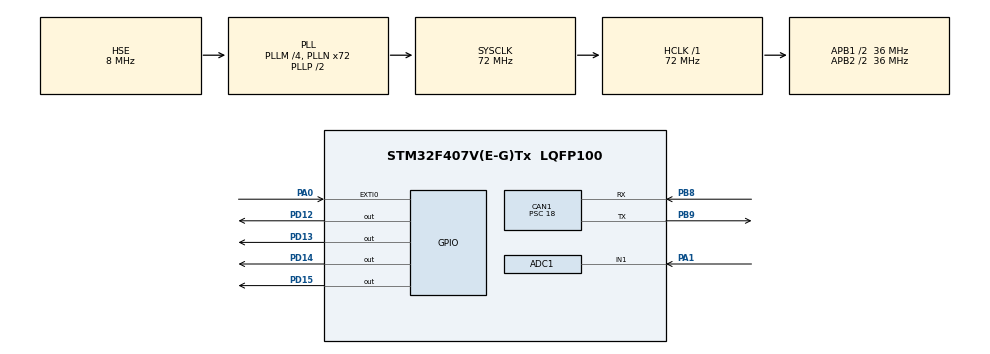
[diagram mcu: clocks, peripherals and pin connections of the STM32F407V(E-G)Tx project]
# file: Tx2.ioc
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ADC1.Channel-0\#ChannelRegularConversion=ADC_CHANNEL_1
ADC1.ContinuousConvMode=ENABLE
ADC1.NbrOfConversionFlag=1
ADC1.Rank-0\#ChannelRegularConversion=1
ADC1.SamplingTime-0\#ChannelRegularConversion=ADC_SAMPLETIME_3CYCLES
ADC1.master=1
CAN1.BS1=CAN_BS1_2TQ
CAN1.CalculateBaudRate=500000
CAN1.CalculateTimeBit=2000
CAN1.CalculateTimeQuantum=500.0
CAN1.Prescaler=18
Mcu.Family=STM32F4
Mcu.Name=STM32F407V(E-G)Tx
Mcu.Package=LQFP100
NVIC.CAN1_RX0_IRQn=true\:0\:0\:false\:false\:true\:true\:true\:true
NVIC.EXTI0_IRQn=true\:0\:0\:false\:false\:true\:true\:true\:true
NVIC.PriorityGroup=NVIC_PRIORITYGROUP_0
PA0-WKUP.Signal=GPXTI0
PA1.Signal=ADCx_IN1
PB8.Mode=CAN_Activate
PB8.Signal=CAN1_RX
PB9.Mode=CAN_Activate
PB9.Signal=CAN1_TX
PD12.Signal=GPIO_Output
PD13.Signal=GPIO_Output
PD14.Signal=GPIO_Output
PD15.Signal=GPIO_Output
PH0-OSC_IN.Mode=HSE-External-Oscillator
PH0-OSC_IN.Signal=RCC_OSC_IN
PH1-OSC_OUT.Mode=HSE-External-Oscillator
PH1-OSC_OUT.Signal=RCC_OSC_OUT
ProjectManager.HeapSize=0x200
ProjectManager.StackSize=0x400
ProjectManager.TargetToolchain=STM32CubeIDE
RCC.48MHZClocksFreq_Value=20571428.57142857
RCC.AHBFreq_Value=72000000
RCC.APB1CLKDivider=RCC_HCLK_DIV2
RCC.APB1Freq_Value=36000000
RCC.APB1TimFreq_Value=72000000
RCC.APB2CLKDivider=RCC_HCLK_DIV2
RCC.APB2Freq_Value=36000000
RCC.APB2TimFreq_Value=72000000
RCC.CortexFreq_Value=72000000
RCC.HCLKFreq_Value=72000000
RCC.HSE_VALUE=8000000
RCC.HSI_VALUE=16000000
RCC.LSE_VALUE=32768
RCC.PLLM=4
RCC.PLLN=72
RCC.PLLQ=7
RCC.PLLSourceVirtual=RCC_PLLSOURCE_HSE
RCC.SYSCLKFreq_VALUE=72000000
RCC.SYSCLKSource=RCC_SYSCLKSOURCE_PLLCLK
RCC.VCOOutputFreq_Value=144000000
SH.ADCx_IN1.0=ADC1_IN1,IN1
board=STM32F407G-DISC1

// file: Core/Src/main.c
/* USER CODE BEGIN Header */
/**
  ******************************************************************************
  * @file           : main.c
  * @brief          : Main program body
  ******************************************************************************
  * @attention
  *
  * Copyright (c) 2023 STMicroelectronics.
  * All rights reserved.
  *
  * This software is licensed under terms that can be found in the LICENSE file
  * in the root directory of this software component.
  * If no LICENSE file comes with this software, it is provided AS-IS.
  *
  ******************************************************************************
  */
/* USER CODE END Header */
#include "main.h"

/* USER CODE BEGIN Includes */
#include <stdio.h>
#include<string.h>
/* USER CODE END Includes */

ADC_HandleTypeDef hadc1;

CAN_HandleTypeDef hcan1;

void SystemClock_Config(void);
static void MX_GPIO_Init(void);
static void MX_CAN1_Init(void);
static void MX_ADC1_Init(void);

/* USER CODE BEGIN 0 */
int Switch_Flag = 0;
CAN_TxHeaderTypeDef TxHeader;
uint8_t TxData[5];
uint32_t TxMailBox;
uint8_t adcValue = 0;

void HAL_GPIO_EXTI_Callback(uint16_t GPIO_Pin){
	Switch_Flag = 1;
	HAL_GPIO_WritePin(GPIOD, GPIO_PIN_14, GPIO_PIN_SET);
//	HAL_Delay(1000);
//	HAL_GPIO_WritePin(GPIOD, GPIO_PIN_14, GPIO_PIN_RESET);
//	Switch_Flag = 0;
}

/* USER CODE END 0 */

int main(void)
{
  /* USER CODE BEGIN 1 */
//	char str[64] = "Temperature:\r\n";
//	char str1[64] = "Temp\r\n";
  /* USER CODE END 1 */

  /* MCU Configuration--------------------------------------------------------*/

  /* Reset of all peripherals, Initializes the Flash interface and the Systick. */
  HAL_Init();

  /* Configure the system clock */
  SystemClock_Config();

  /* Initialize all configured peripherals */
  MX_GPIO_Init();
  MX_CAN1_Init();
  MX_ADC1_Init();
  /* USER CODE BEGIN 2 */
  HAL_CAN_Start(&hcan1);
  HAL_CAN_ActivateNotification(&hcan1, CAN_IT_RX_FIFO0_MSG_PENDING);
  HAL_Delay(100);
  HAL_Delay(100);

  TxHeader.DLC=3;
  TxHeader.RTR=CAN_RTR_DATA;
  TxHeader.IDE=CAN_ID_STD;
  TxHeader.ExtId=0x0;
  TxHeader.StdId=0x0AA;
  TxHeader.TransmitGlobalTime=DISABLE;
  /* USER CODE END 2 */

  /* Infinite loop */
  /* USER CODE BEGIN WHILE */
  while (1)
  {
	  	  	  if(Switch_Flag == 1){
	  	  		 HAL_ADC_Start(&hadc1);
	  	  		 HAL_ADC_PollForConversion(&hadc1, HAL_MAX_DELAY);
	  	  		 adcValue = HAL_ADC_GetValue(&hadc1);
	  	  		 //sprintf(str,"%d\r\n",adcValue);
	  	  		 TxData[0] = (uint8_t)( adcValue>>8);
	  	  		//sprintf(str1,"%d\r\n",adcValue);
	  	  	     TxData[1] = (uint8_t)( adcValue);
	  	  		 //HAL_UART_Transmit(&huart2, (uint8_t *)str, strlen(str), HAL_MAX_DELAY);
	  	  	     HAL_GPIO_WritePin(GPIOD, GPIO_PIN_15, GPIO_PIN_SET);
	  	  	     HAL_Delay(100);
	  	  	     HAL_ADC_Stop(&hadc1);
	  	  		    //TxData[1] = adcValue & 0xFF;
	  	  		 HAL_CAN_AddTxMessage(&hcan1, &TxHeader, TxData, &TxMailBox);
	  	  		 HAL_Delay(1000);
//	  	  		TxData[0] = 'S';	//yellow
//	  	  		if (HAL_CAN_AddTxMessage(&hcan1, &TxHeader, TxData, &TxMailBox) != HAL_OK)
//	  	  			Error_Handler();
//	  	  		HAL_GPIO_WritePin(GPIOD, GPIO_PIN_12, GPIO_PIN_SET);
	  	  		}
    /* USER CODE END WHILE */

  }
}

void SystemClock_Config(void)
{
  RCC_OscInitTypeDef RCC_OscInitStruct = {0};
  RCC_ClkInitTypeDef RCC_ClkInitStruct = {0};

  /** Configure the main internal regulator output voltage
  */
  __HAL_RCC_PWR_CLK_ENABLE();
  __HAL_PWR_VOLTAGESCALING_CONFIG(PWR_REGULATOR_VOLTAGE_SCALE1);

  /** Initializes the RCC Oscillators according to the specified parameters
  * in the RCC_OscInitTypeDef structure.
  */
  RCC_OscInitStruct.OscillatorType = RCC_OSCILLATORTYPE_HSE;
  RCC_OscInitStruct.HSEState = RCC_HSE_ON;
  RCC_OscInitStruct.PLL.PLLState = RCC_PLL_ON;
  RCC_OscInitStruct.PLL.PLLSource = RCC_PLLSOURCE_HSE;
  RCC_OscInitStruct.PLL.PLLM = 4;
  RCC_OscInitStruct.PLL.PLLN = 72;
  RCC_OscInitStruct.PLL.PLLP = RCC_PLLP_DIV2;
  RCC_OscInitStruct.PLL.PLLQ = 7;
  if (HAL_RCC_OscConfig(&RCC_OscInitStruct) != HAL_OK)
  {
    Error_Handler();
  }

  /** Initializes the CPU, AHB and APB buses clocks
  */
  RCC_ClkInitStruct.ClockType = RCC_CLOCKTYPE_HCLK|RCC_CLOCKTYPE_SYSCLK
                              |RCC_CLOCKTYPE_PCLK1|RCC_CLOCKTYPE_PCLK2;
  RCC_ClkInitStruct.SYSCLKSource = RCC_SYSCLKSOURCE_PLLCLK;
  RCC_ClkInitStruct.AHBCLKDivider = RCC_SYSCLK_DIV1;
  RCC_ClkInitStruct.APB1CLKDivider = RCC_HCLK_DIV2;
  RCC_ClkInitStruct.APB2CLKDivider = RCC_HCLK_DIV2;

  if (HAL_RCC_ClockConfig(&RCC_ClkInitStruct, FLASH_LATENCY_2) != HAL_OK)
  {
    Error_Handler();
  }
}

static void MX_ADC1_Init(void)
{

  ADC_ChannelConfTypeDef sConfig = {0};

  /** Configure the global features of the ADC (Clock, Resolution, Data Alignment and number of conversion)
  */
  hadc1.Instance = ADC1;
  hadc1.Init.ClockPrescaler = ADC_CLOCK_SYNC_PCLK_DIV2;
  hadc1.Init.Resolution = ADC_RESOLUTION_12B;
  hadc1.Init.ScanConvMode = DISABLE;
  hadc1.Init.ContinuousConvMode = ENABLE;
  hadc1.Init.DiscontinuousConvMode = DISABLE;
  hadc1.Init.ExternalTrigConvEdge = ADC_EXTERNALTRIGCONVEDGE_NONE;
  hadc1.Init.ExternalTrigConv = ADC_SOFTWARE_START;
  hadc1.Init.DataAlign = ADC_DATAALIGN_RIGHT;
  hadc1.Init.NbrOfConversion = 1;
  hadc1.Init.DMAContinuousRequests = DISABLE;
  hadc1.Init.EOCSelection = ADC_EOC_SINGLE_CONV;
  if (HAL_ADC_Init(&hadc1) != HAL_OK)
  {
    Error_Handler();
  }

  /** Configure for the selected ADC regular channel its corresponding rank in the sequencer and its sample time.
  */
  sConfig.Channel = ADC_CHANNEL_1;
  sConfig.Rank = 1;
  sConfig.SamplingTime = ADC_SAMPLETIME_3CYCLES;
  if (HAL_ADC_ConfigChannel(&hadc1, &sConfig) != HAL_OK)
  {
    Error_Handler();
  }

}

static void MX_CAN1_Init(void)
{

  hcan1.Instance = CAN1;
  hcan1.Init.Prescaler = 18;
  hcan1.Init.Mode = CAN_MODE_NORMAL;
  hcan1.Init.SyncJumpWidth = CAN_SJW_1TQ;
  hcan1.Init.TimeSeg1 = CAN_BS1_2TQ;
  hcan1.Init.TimeSeg2 = CAN_BS2_1TQ;
  hcan1.Init.TimeTriggeredMode = DISABLE;
  hcan1.Init.AutoBusOff = DISABLE;
  hcan1.Init.AutoWakeUp = DISABLE;
  hcan1.Init.AutoRetransmission = DISABLE;
  hcan1.Init.ReceiveFifoLocked = DISABLE;
  hcan1.Init.TransmitFifoPriority = DISABLE;
  if (HAL_CAN_Init(&hcan1) != HAL_OK)
  {
    Error_Handler();
  }
  /* USER CODE BEGIN CAN1_Init 2 */
  CAN_FilterTypeDef canFilterConfig;
   canFilterConfig.FilterActivation=CAN_FILTER_ENABLE;
   canFilterConfig.SlaveStartFilterBank=14;
   canFilterConfig.FilterBank=2;
   canFilterConfig.FilterFIFOAssignment=CAN_RX_FIFO0;
   canFilterConfig.FilterScale=CAN_FILTERSCALE_32BIT;
   canFilterConfig.FilterMode=CAN_FILTERMODE_IDMASK;
   canFilterConfig.FilterMaskIdLow=0x0000;
   canFilterConfig.FilterMaskIdHigh=0xFF00;
   canFilterConfig.FilterIdLow=0x0000;
   canFilterConfig.FilterIdHigh=0x1500;
   HAL_CAN_ConfigFilter(&hcan1, &canFilterConfig);
  /* USER CODE END CAN1_Init 2 */

}

static void MX_GPIO_Init(void)
{
  GPIO_InitTypeDef GPIO_InitStruct = {0};

  /* GPIO Ports Clock Enable */
  __HAL_RCC_GPIOH_CLK_ENABLE();
  __HAL_RCC_GPIOA_CLK_ENABLE();
  __HAL_RCC_GPIOD_CLK_ENABLE();
  __HAL_RCC_GPIOB_CLK_ENABLE();

  /*Configure GPIO pin Output Level */
  HAL_GPIO_WritePin(GPIOD, GPIO_PIN_12|GPIO_PIN_13|GPIO_PIN_14|GPIO_PIN_15, GPIO_PIN_RESET);

  /*Configure GPIO pin : PA0 */
  GPIO_InitStruct.Pin = GPIO_PIN_0;
  GPIO_InitStruct.Mode = GPIO_MODE_IT_RISING;
  GPIO_InitStruct.Pull = GPIO_NOPULL;
  HAL_GPIO_Init(GPIOA, &GPIO_InitStruct);

  /*Configure GPIO pins : PD12 PD13 PD14 PD15 */
  GPIO_InitStruct.Pin = GPIO_PIN_12|GPIO_PIN_13|GPIO_PIN_14|GPIO_PIN_15;
  GPIO_InitStruct.Mode = GPIO_MODE_OUTPUT_PP;
  GPIO_InitStruct.Pull = GPIO_NOPULL;
  GPIO_InitStruct.Speed = GPIO_SPEED_FREQ_LOW;
  HAL_GPIO_Init(GPIOD, &GPIO_InitStruct);

  /* EXTI interrupt init*/
  HAL_NVIC_SetPriority(EXTI0_IRQn, 0, 0);
  HAL_NVIC_EnableIRQ(EXTI0_IRQn);

}

/* USER CODE BEGIN 4 */
void HAL_CAN_TxMailbox0CompleteCallback(CAN_HandleTypeDef *hcan)
{
	HAL_GPIO_WritePin(GPIOD, GPIO_PIN_15, GPIO_PIN_SET);
}

/* USER CODE END 4 */

void Error_Handler(void)
{
  __disable_irq();
  while (1)
  {
  }
}
